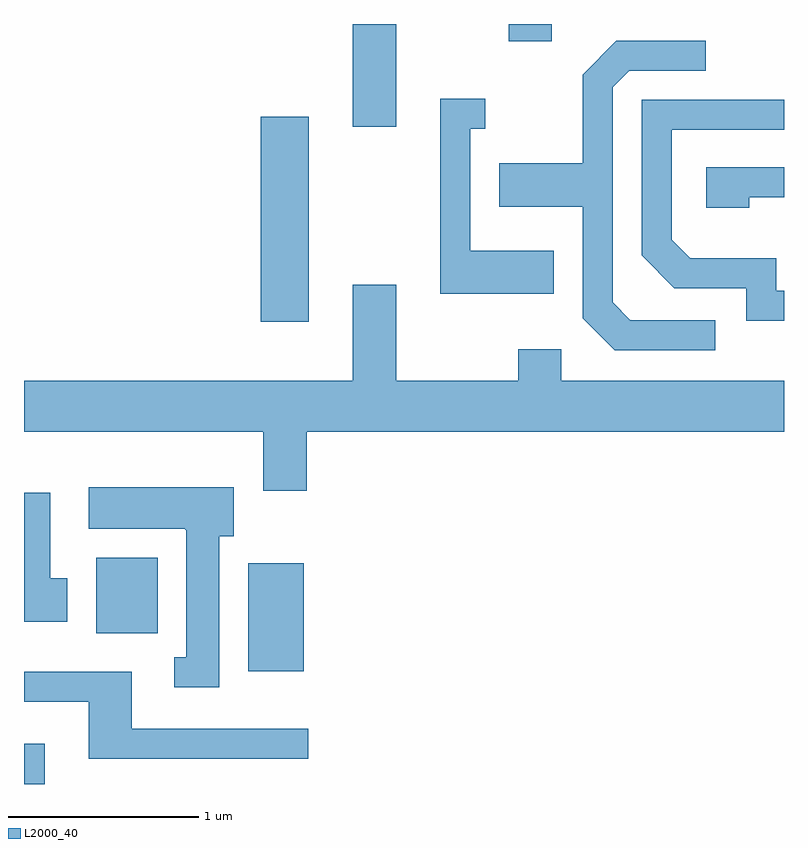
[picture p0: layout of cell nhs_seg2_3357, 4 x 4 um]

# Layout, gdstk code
import gdstk
lib = gdstk.Library(unit=1e-6, precision=1e-09)
def R(c, l, rs):  # rectangles x0, y0, x1, y1
    for r in rs: c.add(gdstk.rectangle(r[:2], r[2:], *l))
def P(c, l, *ps):  # polygons
    for p in ps: c.add(gdstk.Polygon(p, *l))
L2000_40 = (2000, 40)

nhs_seg2_3357 = lib.new_cell('nhs_seg2_3357')
R(nhs_seg2_3357, L2000_40, [(283.611,1039.802,283.719,1040.014), (284.791,1040.396,285.084,1040.964), (283.991,1040.596,284.314,1040.994), (284.856,1042.236,285.109,1043.314), (285.341,1043.261,285.569,1043.802), (286.161,1043.711,286.389,1043.802)])
P(nhs_seg2_3357, L2000_40, [(287.248,1042.244),(286.802,1042.244),(286.709,1042.337),(286.709,1043.469),(286.797,1043.556),(287.198,1043.556),(287.198,1043.714),(286.729,1043.714),(286.551,1043.536),(286.551,1043.069),(286.111,1043.069),(286.111,1042.841),(286.551,1042.841),(286.551,1042.254),(286.719,1042.086),(287.248,1042.086)],
  [(286.399,1042.609),(285.959,1042.609),(285.959,1043.251),(286.038,1043.251),(286.038,1043.409),(285.801,1043.409),(285.801,1042.381),(286.399,1042.381)],
  [(287.611,1042.399),(287.569,1042.399),(287.569,1042.569),(287.117,1042.569),(287.019,1042.667),(287.019,1043.246),(287.611,1043.246),(287.611,1043.404),(286.861,1043.404),(286.861,1042.584),(287.034,1042.411),(287.411,1042.411),(287.411,1042.241),(287.611,1042.241)],
  [(287.429,1042.891),(287.611,1042.891),(287.611,1043.049),(287.201,1043.049),(287.201,1042.836),(287.429,1042.836)],
  [(283.611,1041.656),(284.871,1041.656),(284.871,1041.346),(285.099,1041.346),(285.099,1041.656),(287.611,1041.656),(287.611,1041.924),(286.439,1041.924),(286.439,1042.089),(286.211,1042.089),(286.211,1041.924),(285.569,1041.924),(285.569,1042.429),(285.341,1042.429),(285.341,1041.924),(283.611,1041.924)],
  [(284.639,1041.106),(284.714,1041.106),(284.714,1041.364),(283.951,1041.364),(283.951,1041.146),(284.46,1041.146),(284.46,1041.14),(284.466,1041.14),(284.466,1040.469),(284.403,1040.469),(284.403,1040.311),(284.639,1040.311)],
  [(283.839,1040.884),(283.749,1040.884),(283.749,1041.334),(283.611,1041.334),(283.611,1040.656),(283.839,1040.656)],
  [(285.108,1040.094),(284.179,1040.094),(284.179,1040.394),(283.611,1040.394),(283.611,1040.236),(283.951,1040.236),(283.951,1039.936),(285.108,1039.936)])

lib.write_gds('nhs_seg2_3357.gds')
